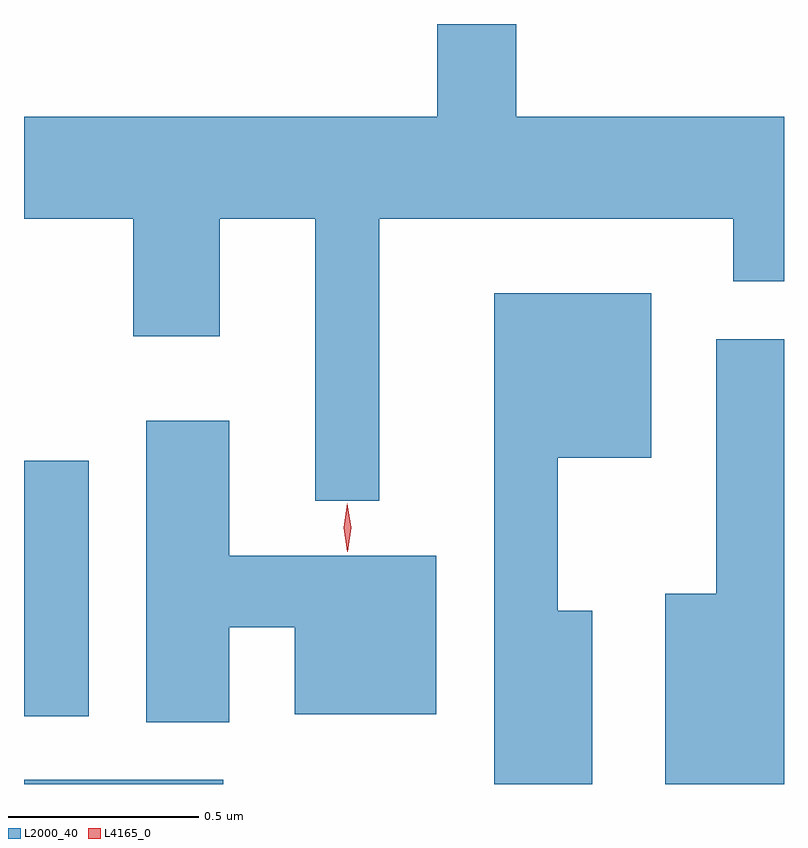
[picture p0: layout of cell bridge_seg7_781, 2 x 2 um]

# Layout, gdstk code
import gdstk
lib = gdstk.Library(unit=1e-6, precision=1e-09)
def R(c, l, rs):  # rectangles x0, y0, x1, y1
    for r in rs: c.add(gdstk.rectangle(r[:2], r[2:], *l))
def P(c, l, *ps):  # polygons
    for p in ps: c.add(gdstk.Polygon(p, *l))
L2000_40 = (2000, 40)
L4165_0 = (4165, 0)

bridge_seg7_781 = lib.new_cell('bridge_seg7_781')
R(bridge_seg7_781, L2000_40, [(442.874,1761.668,443.398,1761.679), (442.874,1761.846,443.044,1762.519)])
P(bridge_seg7_781, L2000_40, [(443.809,1763.156),(444.741,1763.156),(444.741,1762.991),(444.874,1762.991),(444.874,1763.424),(444.169,1763.424),(444.169,1763.668),(443.961,1763.668),(443.961,1763.424),(442.874,1763.424),(442.874,1763.156),(443.161,1763.156),(443.161,1762.846),(443.389,1762.846),(443.389,1763.156),(443.641,1763.156),(443.641,1762.413),(443.809,1762.413)],
  [(444.369,1762.124),(444.279,1762.124),(444.279,1762.526),(444.524,1762.526),(444.524,1762.959),(444.111,1762.959),(444.111,1761.668),(444.369,1761.668)],
  [(444.874,1762.839),(444.696,1762.839),(444.696,1762.169),(444.561,1762.169),(444.561,1761.668),(444.874,1761.668)],
  [(443.414,1762.081),(443.586,1762.081),(443.586,1761.851),(443.959,1761.851),(443.959,1762.269),(443.414,1762.269),(443.414,1762.624),(443.196,1762.624),(443.196,1761.831),(443.414,1761.831)])
P(bridge_seg7_781, L4165_0, [(443.725,1762.279),(443.715,1762.343),(443.724,1762.407),(443.725,1762.407),(443.725,1762.407),(443.735,1762.343),(443.726,1762.279),(443.726,1762.279)])

lib.write_gds('bridge_seg7_781.gds')
